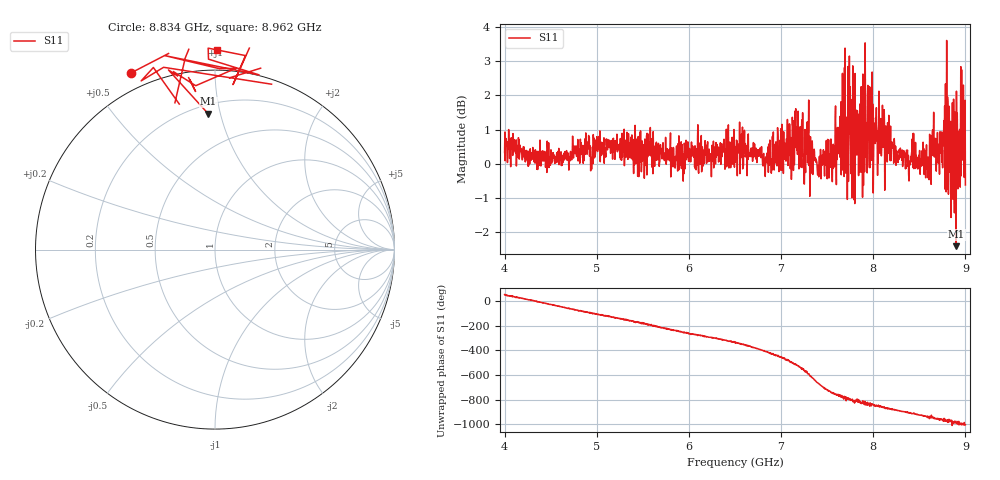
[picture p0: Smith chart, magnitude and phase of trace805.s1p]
! Created with skrf 1.8.0 (http://scikit-rf.org).
# Hz S RI R 50.0
!freq ReS11 ImS11
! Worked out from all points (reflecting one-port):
!   1601 points, 4 GHz to 9 GHz, reference 50 ohm
!   lowest |S11| = -2.4 dB at 8.9 GHz (marker M1), VSWR 7.26, Z = 12.9 + j45.9 ohm
!   phase of S11 starts at 53 deg and turns -1056 deg over the sweep
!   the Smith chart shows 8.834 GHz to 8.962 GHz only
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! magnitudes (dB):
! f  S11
! 4 GHz  0.3
! 4.625 GHz  0.0
! 5.25 GHz  0.2
! 5.875 GHz  0.2
! 6.5 GHz  0.2
! 6.825 GHz  0.2
! 7.125 GHz  1.1
! 7.162 GHz  0.5
! 7.262 GHz  0.0
! 7.284 GHz  1.2
! 7.409 GHz  -0.4
! 7.575 GHz  0.5
! 7.669 GHz  1.9
! 7.75 GHz  1.2
! 7.775 GHz  0.6
! 7.822 GHz  0.3
! 7.881 GHz  1.2
! 7.928 GHz  0.8
! 7.981 GHz  0.1
! 8.097 GHz  0.8
! 8.375 GHz  0.0
! 8.656 GHz  1.5
! 8.731 GHz  0.6
! 8.788 GHz  -0.8
! 8.841 GHz  1.2
! 8.9 GHz  -2.4
! 8.972 GHz  0.4
! 9 GHz  -0.6
